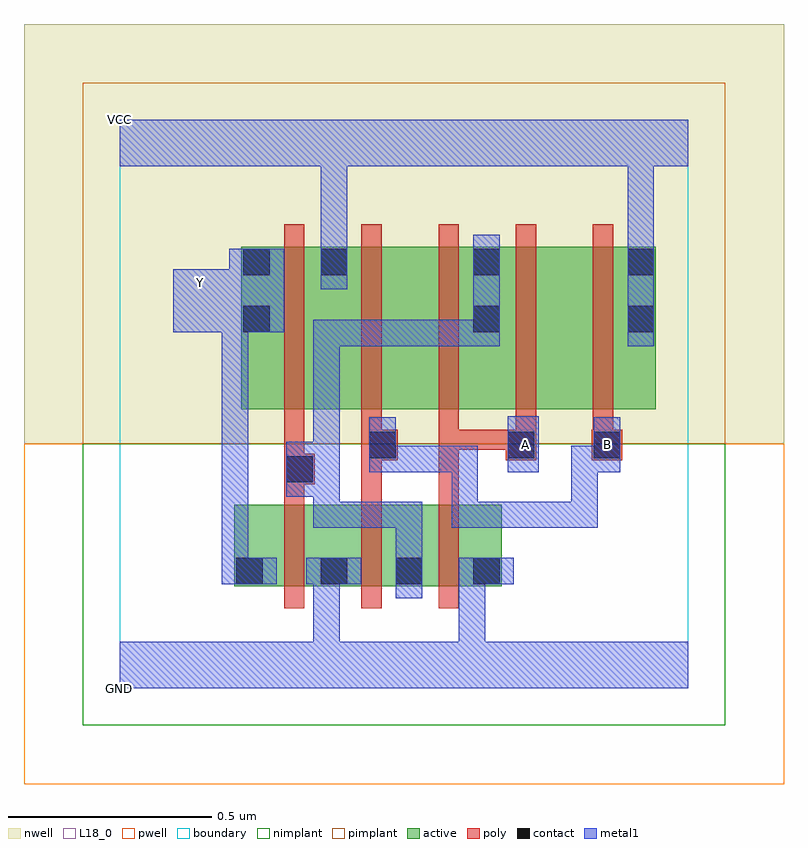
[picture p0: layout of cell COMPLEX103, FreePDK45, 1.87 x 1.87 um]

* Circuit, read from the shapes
.subckt COMPLEX103 A B GND VCC Y
M1 GND n1 Y VSUBS nfet w=0.2u l=0.05u
M2 n1 B GND VSUBS nfet w=0.2u l=0.05u
M3 GND A n1 VSUBS nfet w=0.2u l=0.05u
M4 VCC n1 Y n2 pfet w=0.4u l=0.05u
M5 n3 B VCC n2 pfet w=0.4u l=0.05u
M6 n1 A n3 n2 pfet w=0.4u l=0.05u
M7 n4 A n1 n2 pfet w=0.4u l=0.05u
M8 VCC B n4 n2 pfet w=0.4u l=0.05u
.ends

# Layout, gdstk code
import gdstk
lib = gdstk.Library(unit=1e-6, precision=1e-09)
def R(c, l, rs):  # rectangles x0, y0, x1, y1
    for r in rs: c.add(gdstk.rectangle(r[:2], r[2:], *l))
def A(c, l, x, y, w, h, nx, ny, dx, dy):  # array of equal rectangles
    R(c, l, [(x+i*dx, y+j*dy, x+i*dx+w, y+j*dy+h) for i in range(nx) for j in range(ny)])
active = (1, 0)
pwell = (2, 0)
nwell = (3, 0)
nimplant = (4, 0)
pimplant = (5, 0)
poly = (9, 0)
contact = (10, 0)
metal1 = (11, 0)
L18_0 = (18, 0)
boundary = (235, 0)

complex103 = lib.new_cell('COMPLEX103')
R(complex103, active, [(0.282,0.252,0.357,0.452), (0.282,0.252,0.565,0.452), (0.49,0.252,0.565,0.452), (0.49,0.252,0.75,0.452), (0.675,0.252,0.75,0.452), (0.675,0.252,0.94,0.452), (0.865,0.252,0.94,0.452), (0.3,0.687,0.375,1.087), (0.3,0.687,0.565,1.087), (0.49,0.687,0.565,1.087), (0.49,0.687,0.715,1.087), (0.715,0.687,0.94,1.087), (0.865,0.687,0.94,1.087), (0.865,0.687,1.095,1.087), (1.095,0.687,1.32,1.087), (1.245,0.687,1.32,1.087)])
R(complex103, pwell, [(-0.235,-0.235,1.635,0.602)])
R(complex103, nwell, [(-0.235,0.602,1.635,1.635)])
R(complex103, nimplant, [(-0.09,-0.09,1.49,0.602)])
R(complex103, pimplant, [(-0.09,0.602,1.49,1.49)])
A(complex103, poly, 0.405, 0.197, 0.05, 0.31, 3, 1, 0.19, 0)
A(complex103, poly, 0.595, 0.587, 0.05, 0.095, 4, 1, 0.19, 0)
A(complex103, poly, 0.405, 0.632, 0.05, 0.51, 5, 1, 0.19, 0)
R(complex103, poly, [(0.405,0.457,0.455,0.552), (0.595,0.457,0.645,0.612), (0.785,0.457,0.835,0.637), (0.405,0.502,0.48,0.577), (0.405,0.527,0.455,0.682), (0.595,0.562,0.685,0.637), (0.95,0.562,1.025,0.637), (1.162,0.562,1.237,0.637), (0.785,0.587,0.835,0.637), (0.785,0.587,1,0.637), (0.95,0.587,1,0.637), (0.95,0.587,1,0.637)])
R(complex103, contact, [(0.287,0.257,0.352,0.322), (0.495,0.257,0.56,0.322), (0.68,0.257,0.745,0.322), (0.87,0.257,0.935,0.322), (0.41,0.507,0.475,0.572), (0.615,0.567,0.68,0.632), (0.955,0.567,1.02,0.632), (1.167,0.567,1.232,0.632), (0.305,0.877,0.37,0.942), (0.87,0.877,0.935,0.942), (1.25,0.877,1.315,0.942), (0.305,1.017,0.37,1.082), (0.495,1.017,0.56,1.082), (0.87,1.017,0.935,1.082), (1.25,1.017,1.315,1.082)])
R(complex103, metal1, [(0,0,1.4,0.115), (0.477,0.05,0.542,0.115), (0.477,0.05,0.542,0.115), (0.477,0.05,0.542,0.322), (0.835,0.05,0.9,0.115), (0.835,0.05,0.9,0.115), (0.835,0.05,0.9,0.322), (0.68,0.222,0.745,0.357), (0.252,0.257,0.387,0.322), (0.252,0.257,0.317,0.942), (0.46,0.257,0.595,0.322), (0.477,0.257,0.542,0.322), (0.477,0.257,0.542,0.322), (0.835,0.257,0.9,0.322), (0.835,0.257,0.9,0.322), (0.835,0.257,0.97,0.322), (0.68,0.292,0.745,0.357), (0.68,0.292,0.745,0.46), (0.477,0.395,0.542,0.46), (0.477,0.395,0.745,0.46), (0.477,0.395,0.542,0.537), (0.817,0.395,0.882,0.46), (0.817,0.395,0.882,0.597), (0.817,0.395,1.02,0.46), (0.955,0.395,1.02,0.46), (0.955,0.395,1.177,0.46), (1.112,0.395,1.177,0.46), (1.112,0.395,1.177,0.597), (0.41,0.472,0.475,0.607), (0.41,0.472,0.542,0.537), (0.477,0.472,0.542,0.537), (0.477,0.472,0.542,0.907), (0.615,0.532,0.68,0.597), (0.615,0.532,0.68,0.597), (0.615,0.532,0.68,0.667), (0.615,0.532,0.882,0.597), (0.817,0.532,0.882,0.597), (0.817,0.532,0.882,0.597), (0.817,0.532,0.882,0.597), (0.955,0.532,1.032,0.67), (1.112,0.532,1.177,0.597), (1.112,0.532,1.232,0.597), (1.167,0.532,1.232,0.667), (0.477,0.842,0.542,0.907), (0.477,0.842,0.732,0.907), (0.667,0.842,0.732,0.907), (0.667,0.842,0.732,0.907), (0.667,0.842,0.732,0.907), (0.667,0.842,0.882,0.907), (0.817,0.842,0.882,0.907), (0.817,0.842,0.935,0.907), (0.87,0.842,0.935,1.117), (1.25,0.842,1.315,1.117), (0.132,0.877,0.335,1.032), (0.27,0.877,0.335,0.942), (0.27,0.877,0.405,1.082), (0.495,0.982,0.56,1.117), (0.495,1.052,0.56,1.35), (1.25,1.052,1.315,1.117), (1.25,1.052,1.315,1.117), (1.25,1.052,1.315,1.35), (0,1.285,1.4,1.4), (0.495,1.285,0.56,1.35), (0.495,1.285,0.56,1.35)])
R(complex103, L18_0, [(0,0,1.4,0.115), (0.477,0.05,0.542,0.115), (0.477,0.05,0.542,0.115), (0.477,0.05,0.542,0.322), (0.835,0.05,0.9,0.115), (0.835,0.05,0.9,0.115), (0.835,0.05,0.9,0.322), (0.252,0.257,0.387,0.322), (0.252,0.257,0.317,0.942), (0.46,0.257,0.595,0.322), (0.477,0.257,0.542,0.322), (0.477,0.257,0.542,0.322), (0.835,0.257,0.97,0.322), (0.835,0.257,0.9,0.322), (0.835,0.257,0.9,0.322), (0.817,0.395,0.882,0.46), (0.817,0.395,0.882,0.597), (0.817,0.395,1.02,0.46), (0.955,0.395,1.02,0.46), (0.955,0.395,1.177,0.46), (1.112,0.395,1.177,0.46), (1.112,0.395,1.177,0.597), (0.615,0.532,0.68,0.597), (0.615,0.532,0.68,0.597), (0.615,0.532,0.68,0.667), (0.615,0.532,0.882,0.597), (0.817,0.532,0.882,0.597), (0.817,0.532,0.882,0.597), (0.817,0.532,0.882,0.597), (0.955,0.532,1.032,0.67), (1.112,0.532,1.177,0.597), (1.112,0.532,1.232,0.597), (1.167,0.532,1.232,0.667), (0.967,0.567,1.032,0.632), (1.167,0.567,1.232,0.632), (1.25,0.842,1.315,1.117), (0.132,0.877,0.335,1.032), (0.27,0.877,0.405,1.082), (0.27,0.877,0.335,0.942), (0.167,0.967,0.232,1.032), (0.495,0.982,0.56,1.117), (0.495,1.052,0.56,1.35), (1.25,1.052,1.315,1.117), (1.25,1.052,1.315,1.117), (1.25,1.052,1.315,1.35), (0,1.285,1.4,1.4), (0.495,1.285,0.56,1.35), (0.495,1.285,0.56,1.35)])
R(complex103, boundary, [(0,0,1.4,1.4)])
complex103.add(gdstk.Label('A', (1,0.6), layer=11, texttype=0))
complex103.add(gdstk.Label('B', (1.2,0.6), layer=11, texttype=0))
complex103.add(gdstk.Label('Y', (0.2,1), layer=11, texttype=0))
complex103.add(gdstk.Label('VCC', (0,1.4), layer=11, texttype=0))
complex103.add(gdstk.Label('GND', (0,0), layer=11, texttype=0))

lib.write_gds('COMPLEX103.gds')
